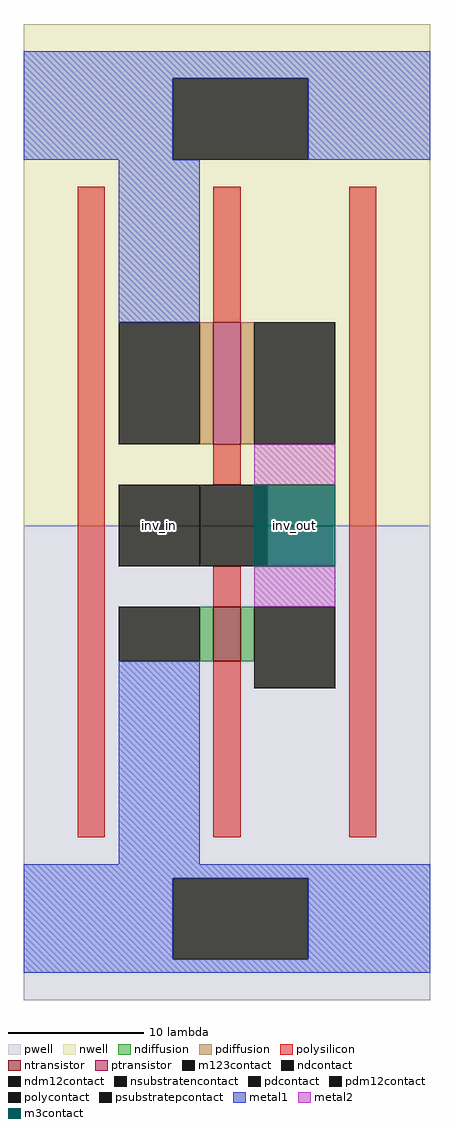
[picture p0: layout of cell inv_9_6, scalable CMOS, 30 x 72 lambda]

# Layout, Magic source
magic
tech scmos
<< nwell >>
rect 0 -27 30 10
<< pwell >>
rect 0 -62 30 -27
<< ntransistor >>
rect 14 -37 16 -33
<< ptransistor >>
rect 14 -21 16 -12
<< ndiffusion >>
rect 13 -37 14 -33
rect 16 -37 17 -33
<< pdiffusion >>
rect 13 -21 14 -12
rect 16 -21 17 -12
<< ndcontact >>
rect 7 -37 13 -33
<< pdcontact >>
rect 7 -21 13 -12
<< psubstratepcontact >>
rect 11 -59 21 -53
<< nsubstratencontact >>
rect 11 0 21 6
<< polysilicon >>
rect 4 -50 6 -2
rect 14 -12 16 -2
rect 14 -24 16 -21
rect 14 -33 16 -30
rect 14 -50 16 -37
rect 24 -50 26 -2
<< polycontact >>
rect 13 -30 18 -24
<< metal1 >>
rect 0 6 30 8
rect 0 0 11 6
rect 21 0 30 6
rect 7 -12 13 0
rect 7 -52 13 -37
rect 0 -53 30 -52
rect 0 -59 11 -53
rect 21 -59 30 -53
rect 0 -60 30 -59
<< pdm12contact >>
rect 17 -21 23 -12
<< ndm12contact >>
rect 17 -39 23 -33
<< metal2 >>
rect 17 -24 23 -21
rect 17 -33 23 -30
<< m3contact >>
rect 17 -30 23 -24
<< m123contact >>
rect 7 -30 13 -24
<< labels >>
rlabel m3contact 20 -27 20 -27 1 inv_out
rlabel m123contact 10 -27 10 -27 1 inv_in
<< end >>
